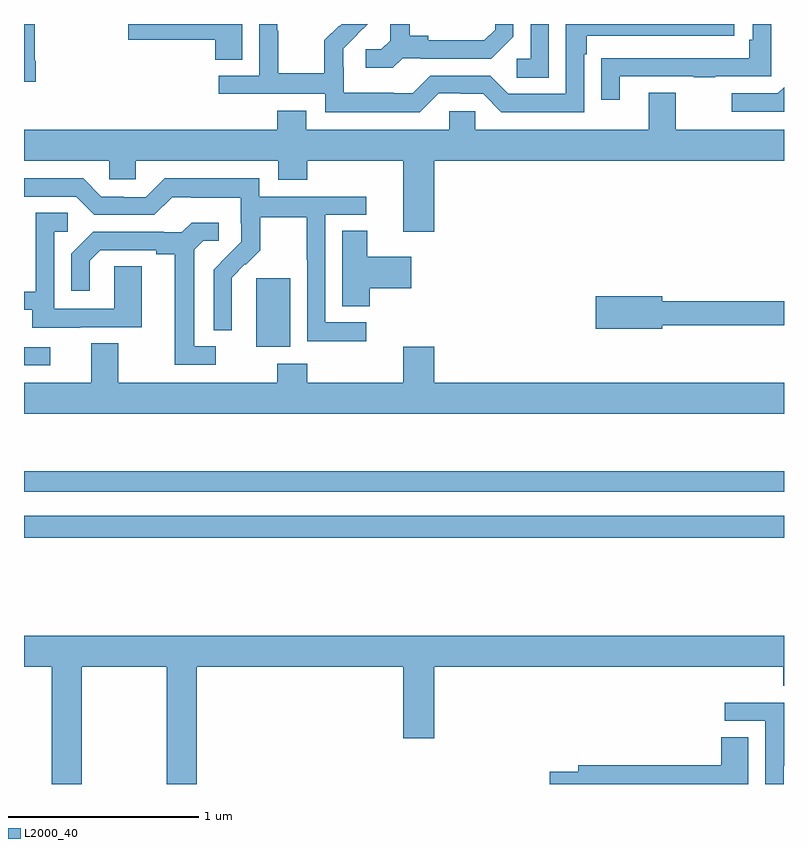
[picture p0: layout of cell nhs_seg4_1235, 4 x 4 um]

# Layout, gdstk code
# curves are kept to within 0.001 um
import gdstk
lib = gdstk.Library(unit=1e-6, precision=1e-09)
def R(c, l, rs):  # rectangles x0, y0, x1, y1
    for r in rs: c.add(gdstk.rectangle(r[:2], r[2:], *l))
def P(c, l, *ps):  # polygons
    for p in ps: c.add(gdstk.Polygon(p, *l))
L2000_40 = (2000, 40)

nhs_seg4_1235 = lib.new_cell('nhs_seg4_1235')
R(nhs_seg4_1235, L2000_40, [(175,768.196,179,768.312), (175,768.438,179,768.547), (175,769.104,175.138,769.2), (176.222,769.202,176.401,769.563), (177.203,770.899,177.348,770.9)])
P(nhs_seg4_1235, L2000_40, [(177.183,770.535),(177.299,770.535),(177.299,770.532),(177.417,770.532),(177.513,770.436),(177.948,770.436),(177.948,770.741),(177.961,770.741),(177.961,770.838),(178.738,770.838),(178.738,770.9),(177.852,770.9),(177.852,770.532),(177.549,770.532),(177.453,770.628),(177.138,770.628),(177.045,770.535),(176.945,770.535),(176.945,770.539),(176.682,770.539),(176.682,770.673),(176.68,770.673),(176.68,770.77),(176.808,770.9),(176.672,770.9),(176.661,770.889),(176.658,770.892),(176.581,770.815),(176.581,770.641),(176.337,770.641),(176.337,770.864),(176.334,770.864),(176.334,770.9),(176.238,770.9),(176.238,770.628),(176.025,770.628),(176.025,770.532),(176.586,770.532),(176.586,770.435),(177.083,770.435)],
  [(176.149,770.9),(175.548,770.9),(175.548,770.818),(176.006,770.818),(176.006,770.713),(176.149,770.713)],
  [(177.762,770.9),(177.666,770.9),(177.666,770.718),(177.594,770.718),(177.594,770.617),(177.762,770.617)],
  [(176.994,770.721),(177.088,770.721),(177.088,770.718),(177.46,770.718),(177.576,770.834),(177.576,770.9),(177.479,770.9),(177.479,770.871),(177.422,770.814),(177.127,770.814),(177.127,770.837),(177.031,770.837),(177.031,770.9),(176.927,770.9),(176.927,770.813),(176.88,770.766),(176.799,770.766),(176.799,770.669),(176.942,770.669)],
  [(178.135,770.625),(178.525,770.625),(178.525,770.62),(178.637,770.62),(178.637,770.625),(178.932,770.625),(178.932,770.9),(178.836,770.9),(178.836,770.818),(178.816,770.818),(178.816,770.721),(178.141,770.721),(178.141,770.72),(178.039,770.72),(178.039,770.502),(178.135,770.502)],
  [(175.061,770.707),(175.056,770.707),(175.056,770.9),(175,770.9),(175,770.595),(175.061,770.595)],
  [(179,770.567),(178.968,770.535),(178.725,770.535),(178.725,770.439),(179,770.439)],
  [(177.16,770.18),(179,770.18),(179,770.344),(178.429,770.344),(178.429,770.539),(178.289,770.539),(178.289,770.344),(177.375,770.344),(177.375,770.442),(177.237,770.442),(177.237,770.344),(176.485,770.344),(176.485,770.443),(176.333,770.443),(176.333,770.344),(175,770.344),(175,770.18),(175.449,770.18),(175.449,770.082),(175.587,770.082),(175.587,770.18),(176.339,770.18),(176.339,770.081),(176.492,770.081),(176.492,770.18),(176.996,770.18),(176.996,769.806),(177.16,769.806)],
  [(176.8,769.329),(176.586,769.329),(176.586,769.896),(176.8,769.896),(176.8,769.992),(176.238,769.992),(176.238,770.089),(175.741,770.089),(175.641,769.989),(175.526,769.989),(175.526,769.992),(175.407,769.992),(175.311,770.088),(175,770.088),(175,769.992),(175.275,769.992),(175.371,769.896),(175.686,769.896),(175.779,769.989),(175.879,769.989),(175.879,769.985),(176.142,769.985),(176.142,769.851),(176.144,769.851),(176.144,769.754),(175.998,769.606),(175.998,769.288),(176.094,769.288),(176.093,769.565),(176.163,769.635),(176.166,769.632),(176.243,769.709),(176.243,769.884),(176.488,769.884),(176.488,769.66),(176.49,769.66),(176.49,769.231),(176.8,769.231)],
  [(175.297,769.305),(175.621,769.305),(175.621,769.625),(175.476,769.625),(175.476,769.401),(175.158,769.401),(175.158,769.806),(175.231,769.806),(175.231,769.907),(175.062,769.907),(175.062,769.491),(175,769.491),(175,769.395),(175.043,769.395),(175.043,769.301),(175.297,769.301)],
  [(176.008,769.203),(175.897,769.203),(175.897,769.711),(175.944,769.758),(176.026,769.758),(176.026,769.855),(175.882,769.855),(175.83,769.803),(175.736,769.803),(175.736,769.806),(175.364,769.806),(175.248,769.69),(175.248,769.497),(175.345,769.497),(175.345,769.653),(175.402,769.71),(175.697,769.71),(175.697,769.688),(175.793,769.688),(175.793,769.107),(176.008,769.107)],
  [(176.819,769.51),(177.037,769.51),(177.037,769.675),(176.806,769.675),(176.806,769.811),(176.675,769.811),(176.675,769.414),(176.819,769.414)],
  [(178.36,769.314),(179,769.314),(179,769.442),(178.36,769.442),(178.36,769.466),(178.008,769.466),(178.008,769.295),(178.36,769.295)],
  [(179,769.012),(177.16,769.012),(177.16,769.201),(176.996,769.201),(176.996,769.012),(176.492,769.012),(176.492,769.111),(176.332,769.111),(176.332,769.012),(175.495,769.012),(175.495,769.22),(175.355,769.22),(175.355,769.012),(175,769.012),(175,768.848),(179,768.848)],
  [(175.305,767.516),(175.75,767.516),(175.75,766.9),(175.91,766.9),(175.91,767.516),(176.996,767.516),(176.996,767.142),(177.16,767.142),(177.16,767.516),(178.997,767.516),(178.997,767.417),(179,767.417),(179,767.68),(175,767.68),(175,767.516),(175.145,767.516),(175.145,766.9),(175.305,766.9)],
  [(178.998,766.996),(179,766.996),(179,767.328),(178.689,767.328),(178.689,767.232),(178.902,767.232),(178.902,766.9),(178.998,766.9)],
  [(178.813,767.147),(178.67,767.147),(178.67,767),(177.917,767),(177.917,766.964),(177.768,766.964),(177.768,766.9),(178.813,766.9)])

lib.write_gds('nhs_seg4_1235.gds')
